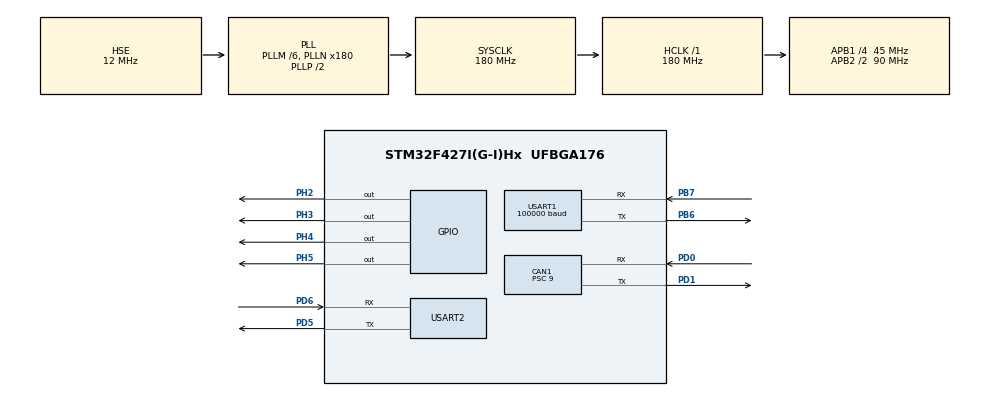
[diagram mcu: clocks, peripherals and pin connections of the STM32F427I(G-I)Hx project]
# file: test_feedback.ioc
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CAN1.ABOM=ENABLE
CAN1.BS1=CAN_BS1_2TQ
CAN1.BS2=CAN_BS2_2TQ
CAN1.CalculateBaudRate=1000000
CAN1.CalculateTimeBit=1000
CAN1.CalculateTimeQuantum=200.0
CAN1.Prescaler=9
Dma.Request0=USART2_RX
Dma.Request1=USART2_TX
Dma.Request2=USART1_RX
Dma.USART1_RX.2.Direction=DMA_PERIPH_TO_MEMORY
Dma.USART1_RX.2.FIFOMode=DMA_FIFOMODE_DISABLE
Dma.USART1_RX.2.Instance=DMA2_Stream2
Dma.USART1_RX.2.MemDataAlignment=DMA_MDATAALIGN_BYTE
Dma.USART1_RX.2.MemInc=DMA_MINC_ENABLE
Dma.USART1_RX.2.Mode=DMA_CIRCULAR
Dma.USART1_RX.2.PeriphDataAlignment=DMA_PDATAALIGN_BYTE
Dma.USART1_RX.2.PeriphInc=DMA_PINC_DISABLE
Dma.USART1_RX.2.Priority=DMA_PRIORITY_LOW
Dma.USART2_RX.0.Direction=DMA_PERIPH_TO_MEMORY
Dma.USART2_RX.0.FIFOMode=DMA_FIFOMODE_DISABLE
Dma.USART2_RX.0.Instance=DMA1_Stream5
Dma.USART2_RX.0.MemDataAlignment=DMA_MDATAALIGN_BYTE
Dma.USART2_RX.0.MemInc=DMA_MINC_ENABLE
Dma.USART2_RX.0.Mode=DMA_NORMAL
Dma.USART2_RX.0.PeriphDataAlignment=DMA_PDATAALIGN_BYTE
Dma.USART2_RX.0.PeriphInc=DMA_PINC_DISABLE
Dma.USART2_RX.0.Priority=DMA_PRIORITY_LOW
Dma.USART2_TX.1.Direction=DMA_MEMORY_TO_PERIPH
Dma.USART2_TX.1.FIFOMode=DMA_FIFOMODE_DISABLE
Dma.USART2_TX.1.Instance=DMA1_Stream6
Dma.USART2_TX.1.MemDataAlignment=DMA_MDATAALIGN_BYTE
Dma.USART2_TX.1.MemInc=DMA_MINC_ENABLE
Dma.USART2_TX.1.Mode=DMA_NORMAL
Dma.USART2_TX.1.PeriphDataAlignment=DMA_PDATAALIGN_BYTE
Dma.USART2_TX.1.PeriphInc=DMA_PINC_DISABLE
Dma.USART2_TX.1.Priority=DMA_PRIORITY_LOW
Mcu.Family=STM32F4
Mcu.Name=STM32F427I(G-I)Hx
Mcu.Package=UFBGA176
NVIC.CAN1_RX0_IRQn=true\:0\:0\:false\:false\:true\:true\:true\:true
NVIC.CAN1_RX1_IRQn=true\:0\:0\:false\:false\:true\:true\:true\:true
NVIC.DMA1_Stream5_IRQn=true\:0\:0\:false\:false\:true\:false\:true\:true
NVIC.DMA1_Stream6_IRQn=true\:0\:0\:false\:false\:true\:false\:true\:true
NVIC.DMA2_Stream2_IRQn=true\:0\:0\:false\:false\:true\:false\:true\:true
NVIC.PriorityGroup=NVIC_PRIORITYGROUP_4
NVIC.USART1_IRQn=true\:0\:0\:false\:false\:true\:true\:true\:true
NVIC.USART2_IRQn=true\:0\:0\:false\:false\:true\:true\:true\:true
PA13.Mode=Serial_Wire
PA13.Signal=SYS_JTMS-SWDIO
PA14.Mode=Serial_Wire
PA14.Signal=SYS_JTCK-SWCLK
PB6.Mode=Asynchronous
PB6.Signal=USART1_TX
PB7.Mode=Asynchronous
PB7.Signal=USART1_RX
PD0.Mode=CAN_Activate
PD0.Signal=CAN1_RX
PD1.Mode=CAN_Activate
PD1.Signal=CAN1_TX
PD5.Mode=Asynchronous
PD5.Signal=USART2_TX
PD6.Mode=Asynchronous
PD6.Signal=USART2_RX
PH0/OSC_IN.Mode=HSE-External-Oscillator
PH0/OSC_IN.Signal=RCC_OSC_IN
PH1/OSC_OUT.Mode=HSE-External-Oscillator
PH1/OSC_OUT.Signal=RCC_OSC_OUT
PH2.GPIO_PuPd=GPIO_PULLDOWN
PH2.Signal=GPIO_Output
PH3.GPIO_PuPd=GPIO_PULLDOWN
PH3.Signal=GPIO_Output
PH4.GPIO_PuPd=GPIO_PULLDOWN
PH4.Signal=GPIO_Output
PH5.GPIO_PuPd=GPIO_PULLDOWN
PH5.Signal=GPIO_Output
ProjectManager.HeapSize=0x200
ProjectManager.StackSize=0x400
ProjectManager.TargetToolchain=MDK-ARM V5.32
RCC.48MHZClocksFreq_Value=90000000
RCC.AHBFreq_Value=180000000
RCC.APB1CLKDivider=RCC_HCLK_DIV4
RCC.APB1Freq_Value=45000000
RCC.APB1TimFreq_Value=90000000
RCC.APB2CLKDivider=RCC_HCLK_DIV2
RCC.APB2Freq_Value=90000000
RCC.APB2TimFreq_Value=180000000
RCC.CortexFreq_Value=180000000
RCC.HCLKFreq_Value=180000000
RCC.HSE_VALUE=12000000
RCC.HSI_VALUE=16000000
RCC.LSE_VALUE=32768
RCC.PLLM=6
RCC.PLLN=180
RCC.PLLSourceVirtual=RCC_PLLSOURCE_HSE
RCC.SYSCLKFreq_VALUE=180000000
RCC.SYSCLKSource=RCC_SYSCLKSOURCE_PLLCLK
RCC.VCOOutputFreq_Value=360000000
USART1.BaudRate=100000
USART1.Parity=PARITY_EVEN
USART1.VirtualMode=VM_ASYNC
USART1.WordLength=WORDLENGTH_9B
USART2.VirtualMode=VM_ASYNC
board=custom

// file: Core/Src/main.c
/* USER CODE BEGIN Header */
/**
 ******************************************************************************
 * @file           : main.c
 * @brief          : Main program body
 ******************************************************************************
 * @attention
 *
 * Copyright (c) 2023 STMicroelectronics.
 * All rights reserved.
 *
 * This software is licensed under terms that can be found in the LICENSE file
 * in the root directory of this software component.
 * If no LICENSE file comes with this software, it is provided AS-IS.
 *
 ******************************************************************************
 */
/* USER CODE END Header */
#include "main.h"
#include "can.h"
#include "dma.h"
#include "usart.h"
#include "gpio.h"

/* USER CODE BEGIN Includes */

#include "drv_bsp.h"
#include "DJI_DR16.h"
#include "dvc_serialplot.h"
#include "dvc_motor.h"
int16_t ch0 = DJI_DR16_Data.RC.CH0;
float ch0_n = DJI_DR16_Data.RC_Value.CH0;
uint8_t s1 = DJI_DR16_Data.RC.S1;

/* USER CODE END Includes */

/* USER CODE BEGIN PV */

Class_Serialplot serialplot;
Class_Motor_C620 motor;

float Target_Angle, Now_Angle, Target_Omega, Now_Omega;

uint32_t Counter = 0;

static char Variable_Assignment_List[][SERIALPLOT_RX_VARIABLE_ASSIGNMENT_MAX_LENGTH] = {
    //电机调PID
    "pa",
    "ia",
    "da",
    "po",
    "io",
    "do",
};

/* USER CODE END PV */

void SystemClock_Config(void);

/* USER CODE BEGIN 0 */

/**
 * @brief CAN报文回调函数
 *
 * @param Rx_Buffer CAN接收的信息结构体
 */
void CAN_Motor_Call_Back(Struct_CAN_Rx_Buffer *Rx_Buffer)
{
    switch (Rx_Buffer->Header.StdId)
    {
        case (0x201):
        {
            motor.CAN_RxCpltCallback(Rx_Buffer->Data);
        }
        break;
    }
}

void HAL_UARTEx_RxEventCallback(UART_HandleTypeDef *huart, uint16_t Size)
{
    if (huart == &huart1)
    {
        DR16_RX_Handle(DJI_DR16_Buffer, Size);
    }
}

/**
 * @brief HAL库UART接收DMA空闲中断
 *
 * @param huart UART编号
 * @param Size 长度
 */
void UART_Serialplot_Call_Back(uint8_t *Buffer, uint16_t Length)
{
    serialplot.UART_RxCpltCallback(Buffer);
    switch (serialplot.Get_Variable_Index())
    {
        // 电机调PID
        case(0):
        {
            motor.PID_Angle.Set_K_P(serialplot.Get_Variable_Value());
        }
        break;
        case(1):
        {
            motor.PID_Angle.Set_K_I(serialplot.Get_Variable_Value());
        }
        break;
        case(2):
        {
            motor.PID_Angle.Set_K_D(serialplot.Get_Variable_Value());
        }
        break;
        case(3):
        {
            motor.PID_Omega.Set_K_P(serialplot.Get_Variable_Value());
        }
        break;
        case(4):
        {
            motor.PID_Omega.Set_K_I(serialplot.Get_Variable_Value());
        }
        break;
        case(5):
        {
            motor.PID_Omega.Set_K_D(serialplot.Get_Variable_Value());
        }
        break;
    }
}

/* USER CODE END 0 */

int main(void)
{

  /* MCU Configuration--------------------------------------------------------*/

  /* Reset of all peripherals, Initializes the Flash interface and the Systick. */
  HAL_Init();

  /* Configure the system clock */
  SystemClock_Config();

  /* Initialize all configured peripherals */
  MX_GPIO_Init();
  MX_DMA_Init();
  MX_CAN1_Init();
  MX_USART2_UART_Init();
  MX_USART1_UART_Init();
  /* USER CODE BEGIN 2 */
		MX_USART1_UART_Init();
		DJI_DR16_Init();    // ← 必须加，开启 DMA + 空闲中断
    BSP_Init(BSP_DC24_LU_ON | BSP_DC24_LD_ON | BSP_DC24_RU_ON | BSP_DC24_RD_ON);
    CAN_Init(&hcan1, CAN_Motor_Call_Back);
    UART_Init(&huart2, UART_Serialplot_Call_Back, SERIALPLOT_RX_VARIABLE_ASSIGNMENT_MAX_LENGTH);

    serialplot.Init(&huart2, 6, (char **)Variable_Assignment_List);

    motor.PID_Angle.Init(10.0f, 6.0f, 0.0f, 0.0f, 15.0f * PI, 15.0f * PI);
    motor.PID_Omega.Init(10.0f, 6.0f, 0.0f, 0.0f, 2500.0f, 2500.0f);

		motor.Init(&hcan1, CAN_Motor_ID_0x201, Control_Method_ANGLE, 1.0f);

  /* USER CODE END 2 */

  /* Infinite loop */
  /* USER CODE BEGIN WHILE */
    while (1)
    {

        //串口绘图显示内容

        Target_Angle = motor.Get_Target_Angle();
        Now_Angle = motor.Get_Now_Angle();
        Target_Omega = motor.Get_Target_Omega();
        Now_Omega = motor.Get_Now_Omega();
        serialplot.Set_Data(4, &Target_Angle, &Now_Angle, &Target_Omega, &Now_Omega);
        serialplot.TIM_Write_PeriodElapsedCallback();

        //输出数据到电�?
        motor.TIM_PID_PeriodElapsedCallback();

        //通信设备回调数据
        TIM_CAN_PeriodElapsedCallback();
        TIM_UART_PeriodElapsedCallback();

        //延时1ms
        HAL_Delay(0);
    /* USER CODE END WHILE */

    }
}

void SystemClock_Config(void)
{
  RCC_OscInitTypeDef RCC_OscInitStruct = {0};
  RCC_ClkInitTypeDef RCC_ClkInitStruct = {0};

  /** Configure the main internal regulator output voltage
  */
  __HAL_RCC_PWR_CLK_ENABLE();
  __HAL_PWR_VOLTAGESCALING_CONFIG(PWR_REGULATOR_VOLTAGE_SCALE1);

  /** Initializes the RCC Oscillators according to the specified parameters
  * in the RCC_OscInitTypeDef structure.
  */
  RCC_OscInitStruct.OscillatorType = RCC_OSCILLATORTYPE_HSE;
  RCC_OscInitStruct.HSEState = RCC_HSE_ON;
  RCC_OscInitStruct.PLL.PLLState = RCC_PLL_ON;
  RCC_OscInitStruct.PLL.PLLSource = RCC_PLLSOURCE_HSE;
  RCC_OscInitStruct.PLL.PLLM = 6;
  RCC_OscInitStruct.PLL.PLLN = 180;
  RCC_OscInitStruct.PLL.PLLP = RCC_PLLP_DIV2;
  RCC_OscInitStruct.PLL.PLLQ = 4;
  if (HAL_RCC_OscConfig(&RCC_OscInitStruct) != HAL_OK)
  {
    Error_Handler();
  }

  /** Activate the Over-Drive mode
  */
  if (HAL_PWREx_EnableOverDrive() != HAL_OK)
  {
    Error_Handler();
  }

  /** Initializes the CPU, AHB and APB buses clocks
  */
  RCC_ClkInitStruct.ClockType = RCC_CLOCKTYPE_HCLK|RCC_CLOCKTYPE_SYSCLK
                              |RCC_CLOCKTYPE_PCLK1|RCC_CLOCKTYPE_PCLK2;
  RCC_ClkInitStruct.SYSCLKSource = RCC_SYSCLKSOURCE_PLLCLK;
  RCC_ClkInitStruct.AHBCLKDivider = RCC_SYSCLK_DIV1;
  RCC_ClkInitStruct.APB1CLKDivider = RCC_HCLK_DIV4;
  RCC_ClkInitStruct.APB2CLKDivider = RCC_HCLK_DIV2;

  if (HAL_RCC_ClockConfig(&RCC_ClkInitStruct, FLASH_LATENCY_5) != HAL_OK)
  {
    Error_Handler();
  }
}

void Error_Handler(void)
{
    __disable_irq();
    while (1)
    {
    }
}
